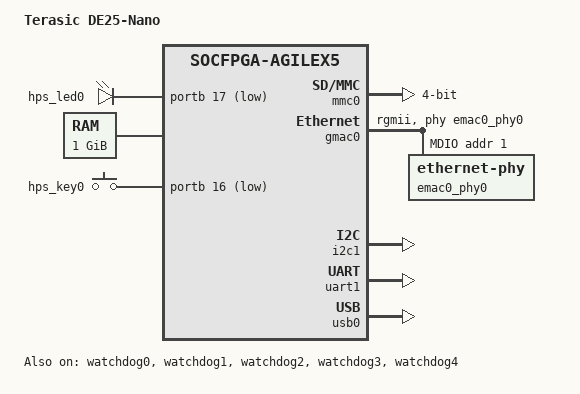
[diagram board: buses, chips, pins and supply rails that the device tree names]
// SPDX-License-Identifier: GPL-2.0-only
/*
 * Terasic DE25-Nano — Intel/Altera Agilex 5 (A5EB013BB23BE4S)
 *
 * Board device tree for mainline Linux 7.4.x, on top of mainline's
 * socfpga_agilex5.dtsi. Rationale per node: docs/de25-dts-rationale.md.
 *
 * Copyright (C) 2023, Intel Corporation           (upstream socfpga_agilex5)
 * Copyright (C) 2025, Altera Corporation          (DE25-Nano board wiring)
 */

#include "arm64/intel/socfpga_agilex5.dtsi"
#include <dt-bindings/input/input.h>

/ {
	/* altera.yaml's Agilex 5 board list is a closed enum; identity lives in "model". */
	model = "Terasic DE25-Nano";
	compatible = "intel,socfpga-agilex5-socdk", "intel,socfpga-agilex5";

	aliases {
		serial0 = &uart1;
		/* Load-bearing: U-Boot writes $ethaddr into the node this alias names. */
		ethernet0 = &gmac0;
		i2c1 = &i2c1;
	};

	chosen {
		/* No bootargs: U-Boot's fdt_chosen() overwrites them from $bootargs. */
		stdout-path = "serial0:115200n8";
	};

	leds {
		compatible = "gpio-leds";

		/* /sys/class/leds/hps_led0 comes from "label", same ABI as the DE10. */
		led-0 {
			label = "hps_led0";
			gpios = <&portb 17 GPIO_ACTIVE_LOW>;
		};
	};

	/* 1 GiB fallback; U-Boot rewrites this node from the IO96B readout. */
	memory@80000000 {
		device_type = "memory";
		reg = <0x0 0x80000000 0x0 0x40000000>;
	};

	/* No fpga-bridges and no config-complete-timeout-us: docs/de25-fpga-reconfig.md §4. */
	base_fpga_region: fpga-region {
		compatible = "fpga-region";
		#address-cells = <0x2>;
		#size-cells = <0x2>;
		fpga-mgr = <&fpga_mgr>;
	};
};

&{/firmware/svc} {
	/* Selects the physical-address SMC path our BL31 serves: docs/de25-vendor-kernel-delta.md §3. */
	compatible = "intel,agilex-svc";

	/* Two strings: the stock driver binds through the second. */
	fpga_mgr: fpga-mgr {
		compatible = "intel,agilex5-soc-fpga-mgr",
			     "intel,agilex-soc-fpga-mgr";
	};
};

/* Off by decision (ADR 0029 D10, ADR 0034); every iommus property is kept and inert. */
&smmu {
	status = "disabled";
};

&soc {
	/* Absent from mainline's dtsi. 7.4's SD6HC driver programs the PHY for every mode itself. */
	mmc0: mmc@10808000 {
		compatible = "altr,agilex5-sd6hc", "cdns,sd6hc";
		reg = <0x10808000 0x1000>;
		interrupts = <GIC_SPI 96 IRQ_TYPE_LEVEL_HIGH>;
		resets = <&rst SDMMC_RESET>, <&rst COMBOPHY_RESET>, <&rst SDMMC_OCP_RESET>;
		reset-names = "sdhc-reset", "combophy", "sdmmc-ocp";
		clocks = <&clkmgr AGILEX5_SDMCLK>, <&clkmgr AGILEX5_L4_MP_CLK>;
		clock-names = "ciu", "biu";
		iommus = <&smmu 5>;
		/* No dma-coherent until measured with the SMMU off: docs/de25-dts-rationale.md §4.5. */

		bus-width = <4>;
		/* SD high speed at 3.3 V; no UHS without a 1.8 V regulator (docs/de25-dts-rationale.md §2.8). */
		max-frequency = <50000000>;
		cap-sd-highspeed;
		disable-wp;
		no-1-8-v;
		no-sdio;

		/* <caps1 caps>: mask SDR50 tuning and the base clock field, which comes from ciu. */
		sdhci-caps = <0x00000000 0x0000c800>;
		sdhci-caps-mask = <0x00002000 0x0000ff00>;

		status = "okay";
	};
};

&gmac0 {
	status = "okay";
	/* "rgmii", not "rgmii-id": the TX/RX delays are on the PCB. */
	phy-mode = "rgmii";
	phy-handle = <&emac0_phy0>;
	max-frame-size = <9000>;
	/* Same first-boot rule as mmc0: docs/de25-dts-rationale.md §4.5. */
	/delete-property/ dma-coherent;

	mdio0 {
		#address-cells = <1>;
		#size-cells = <0>;
		compatible = "snps,dwmac-mdio";

		emac0_phy0: ethernet-phy@1 {
			reg = <1>;
		};
	};
};

&gpio1 {
	status = "okay";
};

&i2c1 {
	status = "okay";
};

&uart1 {
	status = "okay";
};

&usb0 {
	status = "okay";
	disable-over-current;
};

/* All five enabled: a watchdog firmware started is only petted if its node is. */
&watchdog0 {
	status = "okay";
};

&watchdog1 {
	status = "okay";
};

&watchdog2 {
	status = "okay";
};

&watchdog3 {
	status = "okay";
};

&watchdog4 {
	status = "okay";
};

/* Root of the peripheral clock tree; mainline declares it at 0 Hz. */
&osc1 {
	clock-frequency = <25000000>;
};

/* MiSTer HPS<->FPGA interface: DE10 names, at the DE10 address + 0x80000000. */
/* docs/dts-mister-fpga-interface.md §7 */
/ {
	/* FPGA-shared LPDDR, kept from the kernel by the DTB as well as by mem=511M. */
	reserved-memory {
		mister_ddr_low: mister-ddr-low@9ff00000 {
			reg = <0x0 0x9ff00000 0x0 0x000ff000>;
			no-map;
		};

		mister_handoff: mister-handoff@9ffff000 {
			reg = <0x0 0x9ffff000 0x0 0x00001000>;
			no-map;
		};

		mister_scaler: mister-scaler@a0000000 {
			reg = <0x0 0xa0000000 0x0 0x01800000>;
			no-map;
		};

		mister_core_lo: mister-core@a1800000 {
			reg = <0x0 0xa1800000 0x0 0x00800000>;
			no-map;
		};

		mister_fb_mem: mister-fb@a2000000 {
			reg = <0x0 0xa2000000 0x0 0x01800000>;
			no-map;
		};

		mister_core_hi: mister-core@a3800000 {
			reg = <0x0 0xa3800000 0x0 0x1c800000>;
			no-map;
		};
	};

	/* Map-only UIO nodes, uio name mister_<name>; MAP_SHARED only. */
	mister {
		compatible = "simple-mfd";
		#address-cells = <2>;
		#size-cells = <2>;
		ranges;

		/* Touch only after fpga0 reports "operating": a read of an unconfigured fabric is an SError. */
		lw-bridge@20000000 {
			compatible = "generic-uio";
			linux,uio-name = "mister_lw_bridge";
			reg = <0x0 0x20000000 0x0 0x00200000>;
		};

		/* First H2F window only (1 GiB); the 15 GiB and 240 GiB windows are not described. */
		h2f-bridge@40000000 {
			compatible = "generic-uio";
			linux,uio-name = "mister_h2f_bridge";
			reg = <0x0 0x40000000 0x0 0x40000000>;
		};

		ddr-aperture@a0000000 {
			compatible = "generic-uio";
			linux,uio-name = "mister_ddr_aperture";
			reg = <0x0 0xa0000000 0x0 0x20000000>;
			mister,map-writecombine;
		};

		ddr-low@9ff00000 {
			compatible = "generic-uio";
			linux,uio-name = "mister_ddr_low";
			reg = <0x0 0x9ff00000 0x0 0x000ff000>,
			      <0x0 0x9ffff000 0x0 0x00001000>;
		};

		/* HPS on-chip RAM below the SPL handoff page; Device memory, so aligned accesses only. */
		ocram@0 {
			compatible = "generic-uio";
			linux,uio-name = "mister_ocram";
			reg = <0x0 0x00000000 0x0 0x0007f000>;
		};

		/* f2h_irq[N] = GIC SPI 17+N [U until a board confirms]; N=0 is kept for a future fb vsync. */
		fabric-irqs {
			compatible = "simple-mfd";
			interrupt-parent = <&intc>;

			f2h-irq1 {
				compatible = "generic-uio";
				linux,uio-name = "mister_f2h_irq1";
				interrupts = <GIC_SPI 18 IRQ_TYPE_EDGE_RISING>;	/* video_sync, a pulse */
			};

			f2h-irq2 {
				compatible = "generic-uio";
				linux,uio-name = "mister_f2h_irq2";
				interrupts = <GIC_SPI 19 IRQ_TYPE_LEVEL_HIGH>;
			};

			f2h-irq3 {
				compatible = "generic-uio";
				linux,uio-name = "mister_f2h_irq3";
				interrupts = <GIC_SPI 20 IRQ_TYPE_LEVEL_HIGH>;
			};

			f2h-irq4 {
				compatible = "generic-uio";
				linux,uio-name = "mister_f2h_irq4";
				interrupts = <GIC_SPI 21 IRQ_TYPE_LEVEL_HIGH>;
			};

			f2h-irq5 {
				compatible = "generic-uio";
				linux,uio-name = "mister_f2h_irq5";
				interrupts = <GIC_SPI 22 IRQ_TYPE_LEVEL_HIGH>;
			};

			f2h-irq6 {
				compatible = "generic-uio";
				linux,uio-name = "mister_f2h_irq6";
				interrupts = <GIC_SPI 23 IRQ_TYPE_LEVEL_HIGH>;
			};

			f2h-irq7 {
				compatible = "generic-uio";
				linux,uio-name = "mister_f2h_irq7";
				interrupts = <GIC_SPI 24 IRQ_TYPE_LEVEL_HIGH>;
			};

			f2h-irq8 {
				compatible = "generic-uio";
				linux,uio-name = "mister_f2h_irq8";
				interrupts = <GIC_SPI 25 IRQ_TYPE_LEVEL_HIGH>;
			};

			f2h-irq9 {
				compatible = "generic-uio";
				linux,uio-name = "mister_f2h_irq9";
				interrupts = <GIC_SPI 26 IRQ_TYPE_LEVEL_HIGH>;
			};

			f2h-irq10 {
				compatible = "generic-uio";
				linux,uio-name = "mister_f2h_irq10";
				interrupts = <GIC_SPI 27 IRQ_TYPE_LEVEL_HIGH>;
			};

			f2h-irq11 {
				compatible = "generic-uio";
				linux,uio-name = "mister_f2h_irq11";
				interrupts = <GIC_SPI 28 IRQ_TYPE_LEVEL_HIGH>;
			};

			f2h-irq12 {
				compatible = "generic-uio";
				linux,uio-name = "mister_f2h_irq12";
				interrupts = <GIC_SPI 29 IRQ_TYPE_LEVEL_HIGH>;
			};

			f2h-irq13 {
				compatible = "generic-uio";
				linux,uio-name = "mister_f2h_irq13";
				interrupts = <GIC_SPI 30 IRQ_TYPE_LEVEL_HIGH>;
			};

			f2h-irq14 {
				compatible = "generic-uio";
				linux,uio-name = "mister_f2h_irq14";
				interrupts = <GIC_SPI 31 IRQ_TYPE_LEVEL_HIGH>;
			};

			f2h-irq15 {
				compatible = "generic-uio";
				linux,uio-name = "mister_f2h_irq15";
				interrupts = <GIC_SPI 32 IRQ_TYPE_LEVEL_HIGH>;
			};

			f2h-irq16 {
				compatible = "generic-uio";
				linux,uio-name = "mister_f2h_irq16";
				interrupts = <GIC_SPI 33 IRQ_TYPE_LEVEL_HIGH>;
			};

			f2h-irq17 {
				compatible = "generic-uio";
				linux,uio-name = "mister_f2h_irq17";
				interrupts = <GIC_SPI 34 IRQ_TYPE_LEVEL_HIGH>;
			};

			f2h-irq18 {
				compatible = "generic-uio";
				linux,uio-name = "mister_f2h_irq18";
				interrupts = <GIC_SPI 35 IRQ_TYPE_LEVEL_HIGH>;
			};

			f2h-irq19 {
				compatible = "generic-uio";
				linux,uio-name = "mister_f2h_irq19";
				interrupts = <GIC_SPI 36 IRQ_TYPE_LEVEL_HIGH>;
			};

			f2h-irq20 {
				compatible = "generic-uio";
				linux,uio-name = "mister_f2h_irq20";
				interrupts = <GIC_SPI 37 IRQ_TYPE_LEVEL_HIGH>;
			};

			f2h-irq21 {
				compatible = "generic-uio";
				linux,uio-name = "mister_f2h_irq21";
				interrupts = <GIC_SPI 38 IRQ_TYPE_LEVEL_HIGH>;
			};

			f2h-irq22 {
				compatible = "generic-uio";
				linux,uio-name = "mister_f2h_irq22";
				interrupts = <GIC_SPI 39 IRQ_TYPE_LEVEL_HIGH>;
			};

			f2h-irq23 {
				compatible = "generic-uio";
				linux,uio-name = "mister_f2h_irq23";
				interrupts = <GIC_SPI 40 IRQ_TYPE_LEVEL_HIGH>;
			};

			f2h-irq24 {
				compatible = "generic-uio";
				linux,uio-name = "mister_f2h_irq24";
				interrupts = <GIC_SPI 41 IRQ_TYPE_LEVEL_HIGH>;
			};

			f2h-irq25 {
				compatible = "generic-uio";
				linux,uio-name = "mister_f2h_irq25";
				interrupts = <GIC_SPI 42 IRQ_TYPE_LEVEL_HIGH>;
			};

			f2h-irq26 {
				compatible = "generic-uio";
				linux,uio-name = "mister_f2h_irq26";
				interrupts = <GIC_SPI 43 IRQ_TYPE_LEVEL_HIGH>;
			};

			f2h-irq27 {
				compatible = "generic-uio";
				linux,uio-name = "mister_f2h_irq27";
				interrupts = <GIC_SPI 44 IRQ_TYPE_LEVEL_HIGH>;
			};

			f2h-irq28 {
				compatible = "generic-uio";
				linux,uio-name = "mister_f2h_irq28";
				interrupts = <GIC_SPI 45 IRQ_TYPE_LEVEL_HIGH>;
			};

			f2h-irq29 {
				compatible = "generic-uio";
				linux,uio-name = "mister_f2h_irq29";
				interrupts = <GIC_SPI 46 IRQ_TYPE_LEVEL_HIGH>;
			};

			f2h-irq30 {
				compatible = "generic-uio";
				linux,uio-name = "mister_f2h_irq30";
				interrupts = <GIC_SPI 47 IRQ_TYPE_LEVEL_HIGH>;
			};

			f2h-irq31 {
				compatible = "generic-uio";
				linux,uio-name = "mister_f2h_irq31";
				interrupts = <GIC_SPI 48 IRQ_TYPE_LEVEL_HIGH>;
			};

			f2h-irq32 {
				compatible = "generic-uio";
				linux,uio-name = "mister_f2h_irq32";
				interrupts = <GIC_SPI 49 IRQ_TYPE_LEVEL_HIGH>;
			};

			f2h-irq33 {
				compatible = "generic-uio";
				linux,uio-name = "mister_f2h_irq33";
				interrupts = <GIC_SPI 50 IRQ_TYPE_LEVEL_HIGH>;
			};

			f2h-irq34 {
				compatible = "generic-uio";
				linux,uio-name = "mister_f2h_irq34";
				interrupts = <GIC_SPI 51 IRQ_TYPE_LEVEL_HIGH>;
			};

			f2h-irq35 {
				compatible = "generic-uio";
				linux,uio-name = "mister_f2h_irq35";
				interrupts = <GIC_SPI 52 IRQ_TYPE_LEVEL_HIGH>;
			};

			f2h-irq36 {
				compatible = "generic-uio";
				linux,uio-name = "mister_f2h_irq36";
				interrupts = <GIC_SPI 53 IRQ_TYPE_LEVEL_HIGH>;
			};

			f2h-irq37 {
				compatible = "generic-uio";
				linux,uio-name = "mister_f2h_irq37";
				interrupts = <GIC_SPI 54 IRQ_TYPE_LEVEL_HIGH>;
			};

			f2h-irq38 {
				compatible = "generic-uio";
				linux,uio-name = "mister_f2h_irq38";
				interrupts = <GIC_SPI 55 IRQ_TYPE_LEVEL_HIGH>;
			};

			f2h-irq39 {
				compatible = "generic-uio";
				linux,uio-name = "mister_f2h_irq39";
				interrupts = <GIC_SPI 56 IRQ_TYPE_LEVEL_HIGH>;
			};

			f2h-irq40 {
				compatible = "generic-uio";
				linux,uio-name = "mister_f2h_irq40";
				interrupts = <GIC_SPI 57 IRQ_TYPE_LEVEL_HIGH>;
			};

			f2h-irq41 {
				compatible = "generic-uio";
				linux,uio-name = "mister_f2h_irq41";
				interrupts = <GIC_SPI 58 IRQ_TYPE_LEVEL_HIGH>;
			};

			f2h-irq42 {
				compatible = "generic-uio";
				linux,uio-name = "mister_f2h_irq42";
				interrupts = <GIC_SPI 59 IRQ_TYPE_LEVEL_HIGH>;
			};

			f2h-irq43 {
				compatible = "generic-uio";
				linux,uio-name = "mister_f2h_irq43";
				interrupts = <GIC_SPI 60 IRQ_TYPE_LEVEL_HIGH>;
			};

			f2h-irq44 {
				compatible = "generic-uio";
				linux,uio-name = "mister_f2h_irq44";
				interrupts = <GIC_SPI 61 IRQ_TYPE_LEVEL_HIGH>;
			};

			f2h-irq45 {
				compatible = "generic-uio";
				linux,uio-name = "mister_f2h_irq45";
				interrupts = <GIC_SPI 62 IRQ_TYPE_LEVEL_HIGH>;
			};

			f2h-irq46 {
				compatible = "generic-uio";
				linux,uio-name = "mister_f2h_irq46";
				interrupts = <GIC_SPI 63 IRQ_TYPE_LEVEL_HIGH>;
			};

			f2h-irq47 {
				compatible = "generic-uio";
				linux,uio-name = "mister_f2h_irq47";
				interrupts = <GIC_SPI 64 IRQ_TYPE_LEVEL_HIGH>;
			};

			f2h-irq48 {
				compatible = "generic-uio";
				linux,uio-name = "mister_f2h_irq48";
				interrupts = <GIC_SPI 65 IRQ_TYPE_LEVEL_HIGH>;
			};

			f2h-irq49 {
				compatible = "generic-uio";
				linux,uio-name = "mister_f2h_irq49";
				interrupts = <GIC_SPI 66 IRQ_TYPE_LEVEL_HIGH>;
			};

			f2h-irq50 {
				compatible = "generic-uio";
				linux,uio-name = "mister_f2h_irq50";
				interrupts = <GIC_SPI 67 IRQ_TYPE_LEVEL_HIGH>;
			};

			f2h-irq51 {
				compatible = "generic-uio";
				linux,uio-name = "mister_f2h_irq51";
				interrupts = <GIC_SPI 68 IRQ_TYPE_LEVEL_HIGH>;
			};

			f2h-irq52 {
				compatible = "generic-uio";
				linux,uio-name = "mister_f2h_irq52";
				interrupts = <GIC_SPI 69 IRQ_TYPE_LEVEL_HIGH>;
			};

			f2h-irq53 {
				compatible = "generic-uio";
				linux,uio-name = "mister_f2h_irq53";
				interrupts = <GIC_SPI 70 IRQ_TYPE_LEVEL_HIGH>;
			};

			f2h-irq54 {
				compatible = "generic-uio";
				linux,uio-name = "mister_f2h_irq54";
				interrupts = <GIC_SPI 71 IRQ_TYPE_LEVEL_HIGH>;
			};

			f2h-irq55 {
				compatible = "generic-uio";
				linux,uio-name = "mister_f2h_irq55";
				interrupts = <GIC_SPI 72 IRQ_TYPE_LEVEL_HIGH>;
			};

			f2h-irq56 {
				compatible = "generic-uio";
				linux,uio-name = "mister_f2h_irq56";
				interrupts = <GIC_SPI 73 IRQ_TYPE_LEVEL_HIGH>;
			};

			f2h-irq57 {
				compatible = "generic-uio";
				linux,uio-name = "mister_f2h_irq57";
				interrupts = <GIC_SPI 74 IRQ_TYPE_LEVEL_HIGH>;
			};

			f2h-irq58 {
				compatible = "generic-uio";
				linux,uio-name = "mister_f2h_irq58";
				interrupts = <GIC_SPI 75 IRQ_TYPE_LEVEL_HIGH>;
			};

			f2h-irq59 {
				compatible = "generic-uio";
				linux,uio-name = "mister_f2h_irq59";
				interrupts = <GIC_SPI 76 IRQ_TYPE_LEVEL_HIGH>;
			};

			f2h-irq60 {
				compatible = "generic-uio";
				linux,uio-name = "mister_f2h_irq60";
				interrupts = <GIC_SPI 77 IRQ_TYPE_LEVEL_HIGH>;
			};

			f2h-irq61 {
				compatible = "generic-uio";
				linux,uio-name = "mister_f2h_irq61";
				interrupts = <GIC_SPI 78 IRQ_TYPE_LEVEL_HIGH>;
			};

			f2h-irq62 {
				compatible = "generic-uio";
				linux,uio-name = "mister_f2h_irq62";
				interrupts = <GIC_SPI 79 IRQ_TYPE_LEVEL_HIGH>;
			};

			f2h-irq63 {
				compatible = "generic-uio";
				linux,uio-name = "mister_f2h_irq63";
				interrupts = <GIC_SPI 80 IRQ_TYPE_LEVEL_HIGH>;
			};
		};
	};

	gpio-keys {
		compatible = "gpio-keys";

		/* HPS_KEY on HPS GPIO40; polarity assumed like the LED beside it [U]. */
		key-0 {
			label = "hps_key0";
			gpios = <&portb 16 GPIO_ACTIVE_LOW>;
			linux,code = <BTN_0>;
		};
	};
};

/* OCRAM is mister_ocram's and the handoff page's: keep both out of the mmio-sram pool. */
&ocram {
	mister-ocram@0 {
		reg = <0x0 0x7f000>;
	};

	handoff-sram@7f000 {
		reg = <0x7f000 0x1000>;
	};
};
